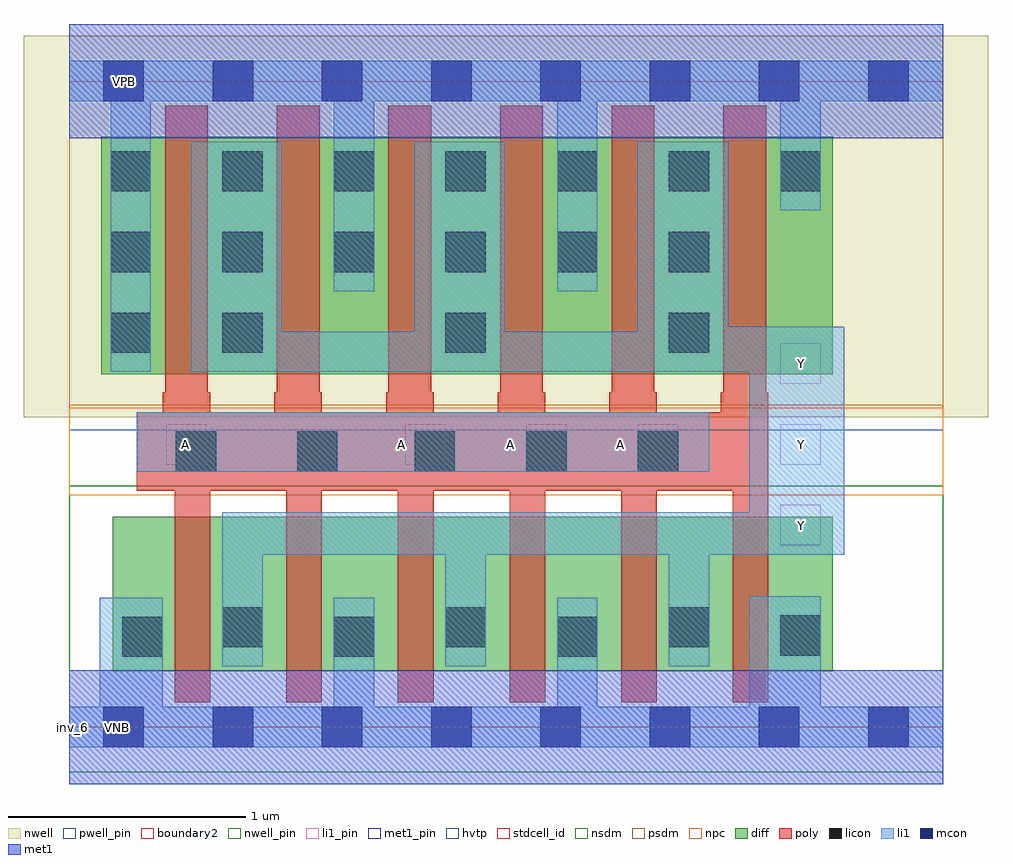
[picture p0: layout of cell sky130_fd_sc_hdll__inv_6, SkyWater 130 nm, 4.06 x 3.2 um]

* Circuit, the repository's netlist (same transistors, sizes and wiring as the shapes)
* Copyright 2020 The SkyWater PDK Authors
*
* Licensed under the Apache License, Version 2.0 (the "License");
* you may not use this file except in compliance with the License.
* You may obtain a copy of the License at
*
*     https://www.apache.org/licenses/LICENSE-2.0
*
* Unless required by applicable law or agreed to in writing, software
* distributed under the License is distributed on an "AS IS" BASIS,
* WITHOUT WARRANTIES OR CONDITIONS OF ANY KIND, either express or implied.
* See the License for the specific language governing permissions and
* limitations under the License.
*
* SPDX-License-Identifier: Apache-2.0

.SUBCKT sky130_fd_sc_hdll__inv_6 A VGND VNB VPB VPWR Y
*.PININFO A:I VGND:I VNB:I VPB:I VPWR:I Y:O
MMIN1 Y A VGND VNB sky130_fd_pr__nfet_01v8 m=6 w=0.65U l=0.15U mult=1 sa=0.265
+ sb=0.265 sd=0.28 area=0.063 perim=1.14
MMIP1 Y A VPWR VPB sky130_fd_pr__pfet_01v8_hvt m=6 w=1.0U l=0.18U mult=1 sa=0.265
+ sb=0.265 sd=0.28 area=0.063 perim=1.14
.ENDS sky130_fd_sc_hdll__inv_6

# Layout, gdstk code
import gdstk
lib = gdstk.Library(unit=1e-6, precision=1e-09)
def R(c, l, rs):  # rectangles x0, y0, x1, y1
    for r in rs: c.add(gdstk.rectangle(r[:2], r[2:], *l))
def A(c, l, x, y, w, h, nx, ny, dx, dy):  # array of equal rectangles
    R(c, l, [(x+i*dx, y+j*dy, x+i*dx+w, y+j*dy+h) for i in range(nx) for j in range(ny)])
def P(c, l, *ps):  # polygons
    for p in ps: c.add(gdstk.Polygon(p, *l))
nwell_pin = (64, 16)
nwell = (64, 20)
diff = (65, 20)
poly = (66, 20)
licon = (66, 44)
li1_pin = (67, 16)
li1 = (67, 20)
mcon = (67, 44)
met1_pin = (68, 16)
met1 = (68, 20)
hvtp = (78, 44)
stdcell_id = (81, 4)
nsdm = (93, 44)
psdm = (94, 20)
npc = (95, 20)
pwell_pin = (122, 16)
boundary2 = (236, 0)

sky130_fd_sc_hdll__inv_6 = lib.new_cell('sky130_fd_sc_hdll__inv_6')
R(sky130_fd_sc_hdll__inv_6, nwell_pin, [(0.145,2.635,0.315,2.805)])
R(sky130_fd_sc_hdll__inv_6, nwell, [(-0.19,1.305,3.87,2.91)])
R(sky130_fd_sc_hdll__inv_6, diff, [(0.185,0.235,3.215,0.885), (0.135,1.485,3.215,2.485)])
P(sky130_fd_sc_hdll__inv_6, poly, [(2.945,1.41),(2.935,1.41),(2.935,2.615),(2.755,2.615),(2.755,1.41),(2.745,1.41),(2.745,1.325),(2.475,1.325),(2.475,1.41),(2.465,1.41),(2.465,2.615),(2.285,2.615),(2.285,1.41),(2.275,1.41),(2.275,1.325),(2.005,1.325),(2.005,1.41),(1.995,1.41),(1.995,2.615),(1.815,2.615),(1.815,1.41),(1.805,1.41),(1.805,1.325),(1.535,1.325),(1.535,1.41),(1.525,1.41),(1.525,2.615),(1.345,2.615),(1.345,1.41),(1.335,1.41),(1.335,1.325),(1.065,1.325),(1.065,1.41),(1.055,1.41),(1.055,2.615),(0.875,2.615),(0.875,1.41),(0.865,1.41),(0.865,1.325),(0.595,1.325),(0.595,1.41),(0.585,1.41),(0.585,2.615),(0.405,2.615),(0.405,1.41),(0.395,1.41),(0.395,1.325),(0.285,1.325),(0.285,0.995),(0.445,0.995),(0.445,0.105),(0.595,0.105),(0.595,0.995),(0.915,0.995),(0.915,0.105),(1.065,0.105),(1.065,0.995),(1.385,0.995),(1.385,0.105),(1.535,0.105),(1.535,0.995),(1.855,0.995),(1.855,0.105),(2.005,0.105),(2.005,0.995),(2.325,0.995),(2.325,0.105),(2.475,0.105),(2.475,0.995),(2.795,0.995),(2.795,0.105),(2.945,0.105)])
A(sky130_fd_sc_hdll__inv_6, licon, 0.645, 0.335, 0.17, 0.17, 3, 2, 0.94, 1.24)
A(sky130_fd_sc_hdll__inv_6, licon, 1.455, 1.075, 0.17, 0.17, 3, 1, 0.47, 0)
A(sky130_fd_sc_hdll__inv_6, licon, 0.175, 1.915, 0.17, 0.17, 6, 1, 0.47, 0)
A(sky130_fd_sc_hdll__inv_6, licon, 0.175, 2.255, 0.17, 0.17, 7, 1, 0.47, 0)
R(sky130_fd_sc_hdll__inv_6, licon, [(0.225,0.295,0.395,0.465), (1.115,0.295,1.285,0.465), (2.055,0.295,2.225,0.465), (2.995,0.3,3.165,0.47), (0.45,1.075,0.62,1.245), (0.96,1.075,1.13,1.245), (0.175,1.575,0.345,1.745)])
A(sky130_fd_sc_hdll__inv_6, li1_pin, 2.995, 0.765, 0.17, 0.17, 1, 3, 0, 0.34)
R(sky130_fd_sc_hdll__inv_6, li1_pin, [(0.41,1.105,0.58,1.275), (1.415,1.105,1.585,1.275), (1.925,1.105,2.095,1.275), (2.395,1.105,2.565,1.275)])
R(sky130_fd_sc_hdll__inv_6, li1, [(0.285,1.075,2.695,1.325)])
P(sky130_fd_sc_hdll__inv_6, li1, [(3.265,1.685),(2.775,1.685),(2.775,2.465),(2.395,2.465),(2.395,1.665),(1.835,1.665),(1.835,2.465),(1.455,2.465),(1.455,1.665),(0.895,1.665),(0.895,2.465),(0.515,2.465),(0.515,1.495),(2.865,1.495),(2.865,0.905),(0.645,0.905),(0.645,0.255),(0.815,0.255),(0.815,0.725),(1.585,0.725),(1.585,0.255),(1.755,0.255),(1.755,0.725),(2.525,0.725),(2.525,0.255),(2.695,0.255),(2.695,0.725),(3.265,0.725)],
  [(3.68,2.805),(0,2.805),(0,2.635),(0.175,2.635),(0.175,1.495),(0.345,1.495),(0.345,2.635),(1.115,2.635),(1.115,1.835),(1.285,1.835),(1.285,2.635),(2.055,2.635),(2.055,1.835),(2.225,1.835),(2.225,2.635),(2.995,2.635),(2.995,2.175),(3.165,2.175),(3.165,2.635),(3.68,2.635)],
  [(3.68,0.085),(3.165,0.085),(3.165,0.55),(2.865,0.55),(2.865,0.085),(2.225,0.085),(2.225,0.545),(2.055,0.545),(2.055,0.085),(1.285,0.085),(1.285,0.545),(1.115,0.545),(1.115,0.085),(0.395,0.085),(0.395,0.545),(0.13,0.545),(0.13,0.085),(0,0.085),(0,-0.085),(3.68,-0.085)])
A(sky130_fd_sc_hdll__inv_6, mcon, 0.145, -0.085, 0.17, 0.17, 8, 2, 0.46, 2.72)
R(sky130_fd_sc_hdll__inv_6, met1_pin, [(0.145,-0.085,0.315,0.085), (0.145,2.635,0.315,2.805)])
R(sky130_fd_sc_hdll__inv_6, met1, [(0,-0.24,3.68,0.24), (0,2.48,3.68,2.96)])
R(sky130_fd_sc_hdll__inv_6, hvtp, [(0,1.25,3.68,2.72)])
R(sky130_fd_sc_hdll__inv_6, stdcell_id, [(0,0,3.68,2.72)])
R(sky130_fd_sc_hdll__inv_6, nsdm, [(0,-0.19,3.68,1.015)])
R(sky130_fd_sc_hdll__inv_6, psdm, [(0,1.355,3.68,2.91)])
R(sky130_fd_sc_hdll__inv_6, npc, [(0,0.975,3.68,1.345)])
R(sky130_fd_sc_hdll__inv_6, pwell_pin, [(0.145,-0.085,0.315,0.085)])
R(sky130_fd_sc_hdll__inv_6, boundary2, [(0,0,3.68,2.72)])
sky130_fd_sc_hdll__inv_6.add(gdstk.Label('Y', (3.085,0.85), layer=67, texttype=5))
sky130_fd_sc_hdll__inv_6.add(gdstk.Label('Y', (3.085,1.19), layer=67, texttype=5))
sky130_fd_sc_hdll__inv_6.add(gdstk.Label('Y', (3.085,1.53), layer=67, texttype=5))
sky130_fd_sc_hdll__inv_6.add(gdstk.Label('A', (0.49,1.19), layer=67, texttype=5))
sky130_fd_sc_hdll__inv_6.add(gdstk.Label('A', (1.4,1.19), layer=67, texttype=5))
sky130_fd_sc_hdll__inv_6.add(gdstk.Label('A', (1.86,1.19), layer=67, texttype=5))
sky130_fd_sc_hdll__inv_6.add(gdstk.Label('A', (2.32,1.19), layer=67, texttype=5))
sky130_fd_sc_hdll__inv_6.add(gdstk.Label('VPB', (0.235,2.72), layer=64, texttype=5))
sky130_fd_sc_hdll__inv_6.add(gdstk.Label('VNB', (0.205,0), layer=64, texttype=59))
sky130_fd_sc_hdll__inv_6.add(gdstk.Label('VPWR', (0.23,2.72), layer=68, texttype=5))
sky130_fd_sc_hdll__inv_6.add(gdstk.Label('VGND', (0.19,0), layer=68, texttype=5))
sky130_fd_sc_hdll__inv_6.add(gdstk.Label('inv_6', (0.015,0), layer=83, texttype=44))

lib.write_gds('sky130_fd_sc_hdll__inv_6.gds')
